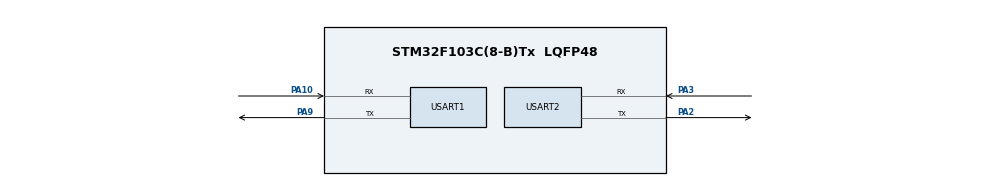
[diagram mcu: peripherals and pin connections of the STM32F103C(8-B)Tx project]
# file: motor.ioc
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Mcu.Family=STM32F1
Mcu.Name=STM32F103C(8-B)Tx
Mcu.Package=LQFP48
NVIC.PriorityGroup=NVIC_PRIORITYGROUP_4
NVIC.USART1_IRQn=true\:0\:0\:false\:false\:true\:true\:true
PA10.Mode=Asynchronous
PA10.Signal=USART1_RX
PA2.Mode=Asynchronous
PA2.Signal=USART2_TX
PA3.Mode=Asynchronous
PA3.Signal=USART2_RX
PA9.Mode=Asynchronous
PA9.Signal=USART1_TX
PC14-OSC32_IN.Mode=LSE-External-Oscillator
PC14-OSC32_IN.Signal=RCC_OSC32_IN
PC15-OSC32_OUT.Mode=LSE-External-Oscillator
PC15-OSC32_OUT.Signal=RCC_OSC32_OUT
PD0-OSC_IN.Mode=HSE-External-Oscillator
PD0-OSC_IN.Signal=RCC_OSC_IN
PD1-OSC_OUT.Mode=HSE-External-Oscillator
PD1-OSC_OUT.Signal=RCC_OSC_OUT
ProjectManager.HeapSize=0x200
ProjectManager.StackSize=0x400
ProjectManager.TargetToolchain=STM32CubeIDE
RCC.APB1Freq_Value=8000000
RCC.APB2Freq_Value=8000000
USART1.VirtualMode=VM_ASYNC
USART2.VirtualMode=VM_ASYNC
VP_SYS_VS_ND.Mode=No_Debug
board=custom

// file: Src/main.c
/* USER CODE BEGIN Header */
/**
  ******************************************************************************
  * @file           : main.c
  * @brief          : Main program body
  ******************************************************************************
  * @attention
  *
  * <h2><center>&copy; Copyright (c) 2019 STMicroelectronics.
  * All rights reserved.</center></h2>
  *
  * This software component is licensed by ST under BSD 3-Clause license,
  * the "License"; You may not use this file except in compliance with the
  * License. You may obtain a copy of the License at:
  *                        opensource.org/licenses/BSD-3-Clause
  *
  ******************************************************************************
  */
/* USER CODE END Header */

#include "main.h"

/* USER CODE BEGIN Includes */
#include <string.h>
#include <float.h>
/* USER CODE END Includes */

UART_HandleTypeDef huart1;
UART_HandleTypeDef huart2;

/* USER CODE BEGIN PV */
const uint8_t SSID[] = "KIAKIA-2.4";
const uint8_t PASSWORD[] ="M206F29685k0073k0077";

#define NumByte 3
uint8_t Rdata[NumByte];
enum State {Start = 1, Stop = 0};
enum State state = Stop;
/* USER CODE END PV */

void SystemClock_Config(void);
static void MX_GPIO_Init(void);
static void MX_USART1_UART_Init(void);
static void MX_USART2_UART_Init(void);

/* USER CODE BEGIN 0 */
void HAL_UART_RxCpltCallback(UART_HandleTypeDef *huart)
{
  HAL_UART_Transmit(&huart1, "incomming: ", 11, 12);
  HAL_UART_Transmit(&huart1, Rdata, NumByte, 12);
  HAL_UART_Transmit(&huart1, "\n", 1, 12);

  if(!strcmp(Rdata, "sta"))
	  state = Start;
  else if(!strcmp(Rdata, "stp"))
	  state = Stop;
  else if(!strcmp(Rdata, "esp"))
  {
	  state = Stop;
	  ESP_Configure();
  }

}

void ESP_Configure()
{
	//OK	->	+7
	HAL_UART_Transmit(&huart1, "********************\n", 21, 12);
	HAL_UART_Transmit(&huart1, "ESP Configure:\n", 15, 12);
	const int mySize = 150;
	uint8_t str[mySize];

	HAL_UART_Transmit(&huart2, "AT+CWMODE=3\r\n", 13, 12);
	HAL_UART_Receive(&huart2, str, 13 + 7, 700);
	HAL_UART_Transmit(&huart1, str, 13 + 7, 12);

	char* wifi;
	uint8_t wifi_size = 10+strlen(SSID)+3+strlen(PASSWORD)+3;
	wifi = malloc(wifi_size + 1);
	strcpy(wifi, "AT+CWJAP=\"");
	strcat(wifi, SSID);
	strcat(wifi, "\",\"");
	strcat(wifi, PASSWORD);
	strcat(wifi, "\"\r\n");

	//connected	->	+32
	HAL_UART_Transmit(&huart2, wifi, wifi_size, 12);
	HAL_UART_Receive(&huart2, str, wifi_size + 15 + 16 + 13 + 9, 10000);
	HAL_UART_Transmit(&huart1, str, wifi_size + 15 + 16 + 13 + 9, 12);
	free(wifi);

	HAL_UART_Transmit(&huart2, "AT+CIFSR\r\n", 10, 12);
	HAL_UART_Receive(&huart2, str, 10 + 27 + 34 + 30 + 35 + 7, 5000);
	HAL_UART_Transmit(&huart1, str, 10 + 27 + 34 + 30 + 35 + 7, 12);
	HAL_UART_Transmit(&huart1, "\n", 1, 12);
	HAL_UART_Transmit(&huart1, "********************\n", 21, 12);

}

void ESP_Client_Send(double speed, double position)
{

    uint8_t speed_integer = (uint8_t)speed;
    uint8_t speed_decimal = (speed - speed_integer)*100;
    char speed_ii [5];
    char speed_dd [5];
    char speed_dd_tmp [5];
    sprintf(speed_ii, "%i", speed_integer);
    sprintf(speed_dd_tmp, "%i", speed_decimal);
    // in case of having 0 after .
    if(speed_decimal < 10)
    {
    	strcpy(speed_dd, "0");
    	strcat(speed_dd, speed_dd_tmp);
    }
    else
    	strcpy(speed_dd, speed_dd_tmp);
    const uint8_t speed_intSize = strlen(speed_ii);
    const uint8_t speed_decSize = strlen(speed_dd);
    uint8_t speed_c[speed_intSize + speed_decSize];
    strcpy(speed_c, speed_ii);
    strcat(speed_c, ".");
    strcat(speed_c, speed_dd);

    uint8_t position_integer = (uint8_t)position;
    uint8_t position_decimal = (position - position_integer)*100;
    char position_ii [5];
    char position_dd [5];
    char position_dd_tmp [5];
    sprintf(position_ii, "%i", position_integer);
    sprintf(position_dd_tmp, "%i", position_decimal);
    // in case of having 0 after .
    if(position_decimal < 10)
	{
		strcpy(position_dd, "0");
		strcat(position_dd, position_dd_tmp);
	}
	else
		strcpy(position_dd, position_dd_tmp);
    const uint8_t position_intSize = strlen(position_ii);
    const uint8_t position_decSize = strlen(position_dd);
    uint8_t position_c[position_intSize + position_decSize];
    strcpy(position_c, position_ii);
    strcat(position_c, ".");
    strcat(position_c, position_dd);

    //	GET /plotter/?speed=9&position=8 HTTP/1.1		20 + speed + 10 + position + 9
    char request[20 + strlen(speed_c) + 10 + strlen(position_c) + 9];
    strcpy(request, "GET /plotter/?speed=");
    strcat(request, speed_c);
    strcat(request, "&position=");
    strcat(request, position_c);
    strcat(request, " HTTP/1.1");

	HAL_UART_Transmit(&huart1, request, strlen(request), 12);

}
/* USER CODE END 0 */

int main(void)
{

  /* MCU Configuration--------------------------------------------------------*/

  /* Reset of all peripherals, Initializes the Flash interface and the Systick. */
  HAL_Init();

  /* Configure the system clock */
  SystemClock_Config();

  /* Initialize all configured peripherals */
  MX_GPIO_Init();
  MX_USART1_UART_Init();
  MX_USART2_UART_Init();
  /* USER CODE BEGIN 2 */
//  ESP_Configure();
  ESP_Client_Send(3.000, 1.00);
  /* USER CODE END 2 */

  /* Infinite loop */
  /* USER CODE BEGIN WHILE */
  while (1)
  {
      HAL_UART_Receive_IT(&huart1,Rdata,NumByte);
      if(state == Stop)
    	  continue;
      HAL_UART_Transmit(&huart1, "start\n", 6, 12);
	  HAL_Delay(1000);
    /* USER CODE END WHILE */

  }
}

void SystemClock_Config(void)
{
  RCC_OscInitTypeDef RCC_OscInitStruct = {0};
  RCC_ClkInitTypeDef RCC_ClkInitStruct = {0};

  /** Initializes the CPU, AHB and APB busses clocks
  */
  RCC_OscInitStruct.OscillatorType = RCC_OSCILLATORTYPE_HSI;
  RCC_OscInitStruct.HSIState = RCC_HSI_ON;
  RCC_OscInitStruct.HSICalibrationValue = RCC_HSICALIBRATION_DEFAULT;
  RCC_OscInitStruct.PLL.PLLState = RCC_PLL_NONE;
  if (HAL_RCC_OscConfig(&RCC_OscInitStruct) != HAL_OK)
  {
    Error_Handler();
  }
  /** Initializes the CPU, AHB and APB busses clocks
  */
  RCC_ClkInitStruct.ClockType = RCC_CLOCKTYPE_HCLK|RCC_CLOCKTYPE_SYSCLK
                              |RCC_CLOCKTYPE_PCLK1|RCC_CLOCKTYPE_PCLK2;
  RCC_ClkInitStruct.SYSCLKSource = RCC_SYSCLKSOURCE_HSI;
  RCC_ClkInitStruct.AHBCLKDivider = RCC_SYSCLK_DIV1;
  RCC_ClkInitStruct.APB1CLKDivider = RCC_HCLK_DIV1;
  RCC_ClkInitStruct.APB2CLKDivider = RCC_HCLK_DIV1;

  if (HAL_RCC_ClockConfig(&RCC_ClkInitStruct, FLASH_LATENCY_0) != HAL_OK)
  {
    Error_Handler();
  }
}

static void MX_USART1_UART_Init(void)
{

  huart1.Instance = USART1;
  huart1.Init.BaudRate = 115200;
  huart1.Init.WordLength = UART_WORDLENGTH_8B;
  huart1.Init.StopBits = UART_STOPBITS_1;
  huart1.Init.Parity = UART_PARITY_NONE;
  huart1.Init.Mode = UART_MODE_TX_RX;
  huart1.Init.HwFlowCtl = UART_HWCONTROL_NONE;
  huart1.Init.OverSampling = UART_OVERSAMPLING_16;
  if (HAL_UART_Init(&huart1) != HAL_OK)
  {
    Error_Handler();
  }

}

static void MX_USART2_UART_Init(void)
{

  huart2.Instance = USART2;
  huart2.Init.BaudRate = 115200;
  huart2.Init.WordLength = UART_WORDLENGTH_8B;
  huart2.Init.StopBits = UART_STOPBITS_1;
  huart2.Init.Parity = UART_PARITY_NONE;
  huart2.Init.Mode = UART_MODE_TX_RX;
  huart2.Init.HwFlowCtl = UART_HWCONTROL_NONE;
  huart2.Init.OverSampling = UART_OVERSAMPLING_16;
  if (HAL_UART_Init(&huart2) != HAL_OK)
  {
    Error_Handler();
  }

}

static void MX_GPIO_Init(void)
{

  /* GPIO Ports Clock Enable */
  __HAL_RCC_GPIOC_CLK_ENABLE();
  __HAL_RCC_GPIOD_CLK_ENABLE();
  __HAL_RCC_GPIOA_CLK_ENABLE();

}

void Error_Handler(void)
{
}

/************************ (C) COPYRIGHT STMicroelectronics *****END OF FILE****/
